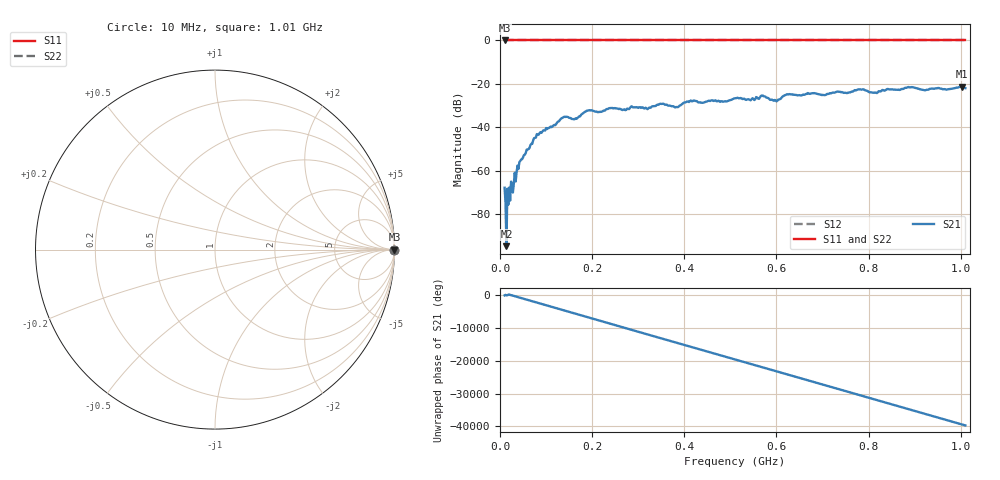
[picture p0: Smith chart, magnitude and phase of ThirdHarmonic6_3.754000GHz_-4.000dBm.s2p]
! 8/17/2025 12:52:50 PM
! C:\ANRITSUVNA\TEMP\TEMP.S2P
! CHANNEL.1
! TR.MEASUREMENT
! RAW.DATA
! RF.CORRECTION.OFF
! AVERAGING.OFF
! IF.BANDWIDTH: 5KHZ
! SWEEPTYPE:  FREQ.SWEEP(Linear)
! Reference Plane Port Info
! PORT:  PORT1  PORT2
! DISTANCE:  0  m  0  m
! TIME:  0  s  0  s
! PHASE.OFFSET:  0  deg.  0  deg.
! LOSS:  0  dB  0  dB
! REF.LOSS:  0  dB  0  dB
! REF.FREQ:  0  Hz  0  Hz
! Power Info
! POWER:  -20  dBm  -20  dBm
! EFF.POWER:  -20  dBm  -20  dBm
! SOURCE.ATTEN:  0  dB  0  dB
! TEST.ATTEN:  0  dB  0  dB
# GHZ S RI R 50.0
! FREQ.GHZ  S11RE  S11IM  S21RE  S21IM  S12RE  S12IM  S22RE  S22IM
!; PortSelection: Port_12
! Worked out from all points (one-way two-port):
!   501 points, 10 MHz to 1.01 GHz, reference 50 ohm
!   highest |S21| = -21.22 dB at 1.002 GHz (marker M1); lowest = -94.7 dB at 14 MHz (marker M2)
!   lowest |S11| = 0.0 dB at 10 MHz (marker M3)
!   |S11| at or under -10 dB: nowhere
!   |S22| runs from 0.0 to 0.0 dB; largest |S21 - S12| = 1.1
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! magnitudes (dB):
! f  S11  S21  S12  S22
! 10 MHz  0.0  -67.8  0.0  0.0
! 14 MHz  0.0  -94.7  0.0  0.0
! 18 MHz  0.0  -75.6  0.0  0.0
! 20 MHz  0.0  -67.7  0.0  0.0
! 26 MHz  0.0  -66.7  0.0  0.0
! 42 MHz  0.0  -56.0  0.0  0.0
! 78 MHz  0.0  -44.7  0.0  0.0
! 136 MHz  0.0  -35.6  0.0  0.0
! 162 MHz  0.0  -36.3  0.0  0.0
! 178 MHz  0.0  -33.8  0.0  0.0
! 192 MHz  0.0  -32.2  0.0  0.0
! 344 MHz  0.0  -29.6  0.0  0.0
! 384 MHz  0.0  -30.6  0.0  0.0
! 416 MHz  0.0  -28.0  0.0  0.0
! 510 MHz  0.0  -26.6  0.0  0.0
! 570 MHz  0.0  -25.3  0.0  0.0
! 598 MHz  0.0  -27.5  0.0  0.0
! 624 MHz  0.0  -24.7  0.0  0.0
! 678 MHz  0.0  -24.3  0.0  0.0
! 844 MHz  0.0  -22.5  0.0  0.0
! 1.002 GHz  0.0  -21.2  0.0  0.0
! 1.01 GHz  0.0  -21.9  0.0  0.0
